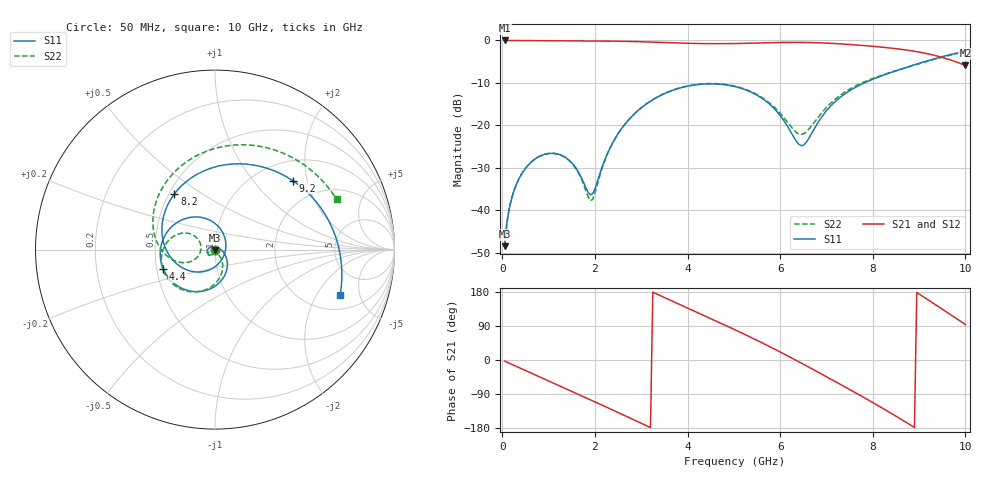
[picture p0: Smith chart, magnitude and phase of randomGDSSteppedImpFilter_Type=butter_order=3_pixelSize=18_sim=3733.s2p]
! freq	dB(S11)	phase(S11)	dB(S12)	phase(S12)
!  dB(S21)	phase(S21)	dB(S22)	phase(S22)
!S-par simulation data
#  GHz  S  DB  R 50
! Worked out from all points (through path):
!   200 points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, 50 MHz to 10 GHz, reference 50 ohm
!   highest |S21| = -0.02 dB at 50 MHz (marker M1); lowest = -5.9 dB at 10 GHz (marker M2)
!   group delay of S21, straight-line fit = 170 ps
!   lowest |S11| = -48.4 dB at 50 MHz (marker M3), VSWR 1.01, Z = 50.1 - j0.357 ohm
!   |S11| at or under -10 dB: start of sweep to 7.819 GHz
!   |S22| runs from -48.4 to -2.7 dB; largest |S21 - S12| = 0
!   S11 on the Smith chart (normalised r, x): 50 MHz: 1.00, -0.01; 4.4 GHz: 0.54, -0.13; 8.2 GHz: 0.53, +0.39; 9.2 GHz: 1.42, +1.64; 10 GHz: 2.91, -3.25
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0.05  -48.40 -69.3  -0.02 -2.8  -0.02 -2.8  -48.36 -68.9
0.15  -39.57 -90.2  -0.03 -8.3  -0.03 -8.3  -39.53 -88.8
0.25  -35.43 -100.3  -0.03 -13.8  -0.03 -13.8  -35.39 -97.8
0.65  -28.39 -129.0  -0.06 -35.7  -0.06 -35.7  -28.36 -121.8
1.3  -27.15 -173.8  -0.09 -71.5  -0.09 -71.5  -27.17 -152.0
1.75  -33.27 133.7  -0.11 -96.4  -0.11 -96.4  -33.77 -152.3
1.95  -36.09 61.1  -0.12 -107.5  -0.12 -107.5  -37.44 -95.6
2.5  -21.94 -36.7  -0.19 -138.5  -0.19 -138.5  -21.97 -59.7
3.4  -13.05 -98.0  -0.46 170.5  -0.46 170.5  -13.01 -101.1
4.4  -10.24 -159.1  -0.76 114.8  -0.76 114.8  -10.18 -150.4
5.05  -10.94 159.6  -0.74 78.3  -0.74 78.3  -10.84 178.8
5.5  -12.89 127.6  -0.62 51.9  -0.62 51.9  -12.72 159.3
6  -17.67 82.2  -0.49 21.2  -0.49 21.2  -17.14 146.3
6.45  -24.75 -10.1  -0.47 -7.7  -0.47 -7.7  -22.12 176.0
6.7  -21.49 -79.6  -0.52 -24.2  -0.52 -24.2  -19.79 -158.2
7.45  -12.19 -167.7  -0.92 -74.5  -0.92 -74.5  -11.79 -169.6
8.2  -8.31 126.0  -1.59 -126.4  -1.59 -126.4  -8.18 152.3
8.35  -7.72 113.0  -1.76 -137.2  -1.76 -137.2  -7.64 143.7
8.8  -6.09 74.5  -2.39 -170.5  -2.39 -170.5  -6.14 115.5
9.2  -4.74 41.5  -3.19 158.4  -3.19 158.4  -4.85 87.1
9.6  -3.54 9.9  -4.33 126.1  -4.33 126.1  -3.66 55.6
10  -2.59 -19.8  -5.89 93.5  -5.89 93.5  -2.70 22.4
